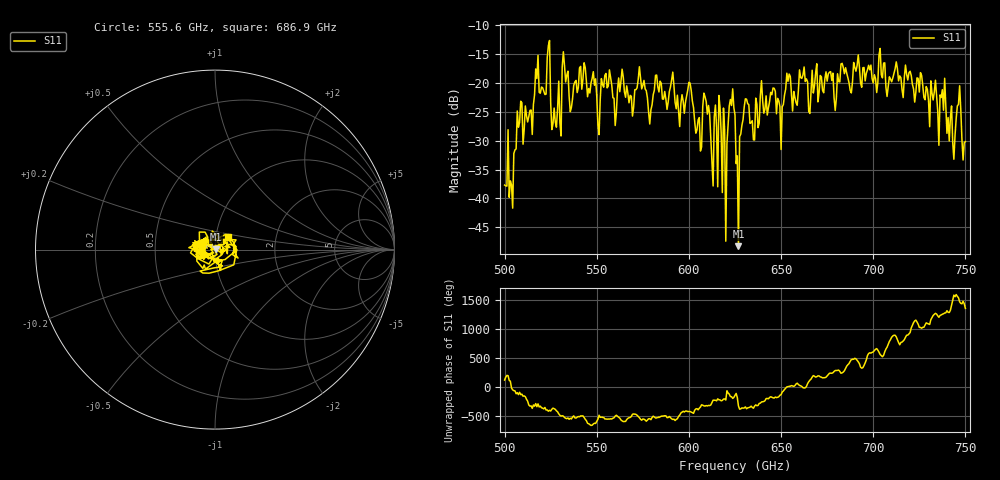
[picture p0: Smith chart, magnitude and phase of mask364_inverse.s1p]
!Created with skrf (http://scikit-rf.org).
# GHz S MA R 50.0
!freq magS11 angS11
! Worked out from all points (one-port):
!   401 points, 500 GHz to 750 GHz, reference 50 ohm
!   lowest |S11| = -48.2 dB at 626.9 GHz (marker M1), VSWR 1.01, Z = 50.3 + j0.188 ohm
!   |S11| at or under -10 dB: start of sweep to end of sweep
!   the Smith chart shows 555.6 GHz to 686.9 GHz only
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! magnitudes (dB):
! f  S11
! 500 GHz  -37.7
! 508.1 GHz  -26.8
! 517.5 GHz  -19.3
! 523.8 GHz  -13.6
! 526.9 GHz  -24.4
! 531.2 GHz  -17.3
! 562.5 GHz  -21.5
! 578.8 GHz  -27.1
! 590.6 GHz  -19.5
! 593.8 GHz  -22.2
! 600.6 GHz  -20.1
! 605.6 GHz  -26.0
! 609.4 GHz  -23.3
! 612.5 GHz  -33.3
! 617.5 GHz  -28.7
! 619.4 GHz  -28.2
! 622.5 GHz  -22.9
! 625 GHz  -25.6
! 626.9 GHz  -48.2
! 631.2 GHz  -22.8
! 634.4 GHz  -26.6
! 656.2 GHz  -24.9
! 687.5 GHz  -21.3
! 718.8 GHz  -19.5
! 737.5 GHz  -21.2
! 742.5 GHz  -24.0
! 746.2 GHz  -23.7
! 750 GHz  -30.2
